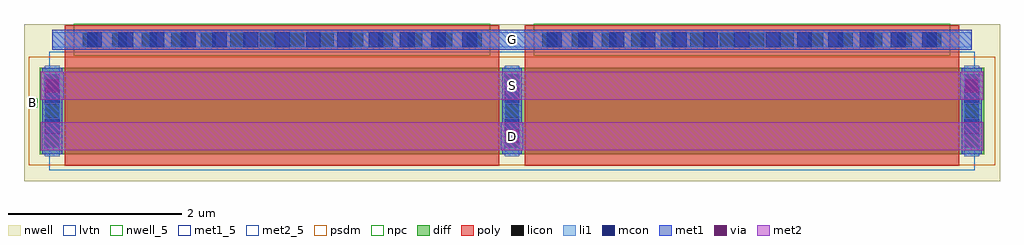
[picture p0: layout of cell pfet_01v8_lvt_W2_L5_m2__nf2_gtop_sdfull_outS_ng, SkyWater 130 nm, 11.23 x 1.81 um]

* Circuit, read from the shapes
.subckt pfet_01v8_lvt_W2_L5_m2__nf2_gtop_sdfull_outS_ng B D G S
XM1 D G S B sky130_fd_pr__pfet_01v8_lvt w=1 l=5 m=2
.ends

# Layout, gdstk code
import gdstk
lib = gdstk.Library(unit=1e-6, precision=1e-09)
def R(c, l, rs):  # rectangles x0, y0, x1, y1
    for r in rs: c.add(gdstk.rectangle(r[:2], r[2:], *l))
def A(c, l, x, y, w, h, nx, ny, dx, dy):  # array of equal rectangles
    R(c, l, [(x+i*dx, y+j*dy, x+i*dx+w, y+j*dy+h) for i in range(nx) for j in range(ny)])
nwell_5 = (64, 5)
nwell = (64, 20)
diff = (65, 20)
poly = (66, 20)
licon = (66, 44)
li1 = (67, 20)
mcon = (67, 44)
met1_5 = (68, 5)
met1 = (68, 20)
via = (68, 44)
met2_5 = (69, 5)
met2 = (69, 20)
psdm = (94, 20)
npc = (95, 20)
lvtn = (125, 44)

sky130_fd_pr__pfet_01v8_ = lib.new_cell('sky130_fd_pr__pfet_01v8_lvt_ZN57UK')
R(sky130_fd_pr__pfet_01v8_, nwell, [(-5.615,-0.99,5.615,0.82)])
R(sky130_fd_pr__pfet_01v8_, diff, [(-5.435,-0.68,5.435,0.32)])
R(sky130_fd_pr__pfet_01v8_, poly, [(-5.145,-0.81,-0.145,0.805), (0.145,-0.81,5.145,0.805)])
A(sky130_fd_pr__pfet_01v8_, licon, -5.375, -0.605, 0.17, 0.17, 3, 3, 5.29, 0.34)
A(sky130_fd_pr__pfet_01v8_, licon, -4.94, 0.555, 0.17, 0.17, 14, 1, 0.34, 0)
A(sky130_fd_pr__pfet_01v8_, licon, 0.35, 0.555, 0.17, 0.17, 14, 1, 0.34, 0)
A(sky130_fd_pr__pfet_01v8_, li1, -5.375, -0.7, 0.17, 1.04, 3, 1, 5.29, 0)
R(sky130_fd_pr__pfet_01v8_, li1, [(-5.29,0.555,5.29,0.725)])
A(sky130_fd_pr__pfet_01v8_, mcon, -5.375, -0.445, 0.17, 0.17, 3, 2, 5.29, 0.36)
A(sky130_fd_pr__pfet_01v8_, mcon, -4.89, 0.555, 0.17, 0.17, 13, 1, 0.36, 0)
A(sky130_fd_pr__pfet_01v8_, mcon, 0.4, 0.555, 0.17, 0.17, 13, 1, 0.36, 0)
A(sky130_fd_pr__pfet_01v8_, met1, -5.405, -0.68, 0.23, 1, 3, 1, 5.29, 0)
R(sky130_fd_pr__pfet_01v8_, met1, [(-5.125,0.525,-0.165,0.555), (0.165,0.525,5.125,0.555), (-5.29,0.555,5.29,0.725), (-5.125,0.725,-0.165,0.755), (0.165,0.725,5.125,0.755)])
R(sky130_fd_pr__pfet_01v8_, psdm, [(-5.56,-0.805,5.56,0.445)])
R(sky130_fd_pr__pfet_01v8_, npc, [(-5.04,0.455,-0.25,0.825), (0.25,0.455,5.04,0.825)])
R(sky130_fd_pr__pfet_01v8_, lvtn, [(-5.325,-0.86,5.325,0.5)])
sky130_fd_pr__pfet_01v8_.add(gdstk.Label('D0', (-5.29,-0.18), layer=67, texttype=5))
sky130_fd_pr__pfet_01v8_.add(gdstk.Label('G', (2.645,0.64), layer=67, texttype=5))
sky130_fd_pr__pfet_01v8_.add(gdstk.Label('G', (-2.645,0.64), layer=67, texttype=5))
sky130_fd_pr__pfet_01v8_.add(gdstk.Label('S1', (0,-0.18), layer=67, texttype=5))

pfet_01v8_lvt_w2_l5_m2__ = lib.new_cell('pfet_01v8_lvt_W2_L5_m2__nf2_gtop_sdfull_outS_ng')
R(pfet_01v8_lvt_w2_l5_m2__, nwell_5, [(0.05,0.855,0.15,0.955)])
R(pfet_01v8_lvt_w2_l5_m2__, nwell, [(0.05,0.855,0.15,0.955)])
R(pfet_01v8_lvt_w2_l5_m2__, met1_5, [(0.325,1.515,10.905,1.745)])
R(pfet_01v8_lvt_w2_l5_m2__, met1, [(5.485,0.36,5.745,0.68), (0.195,0.94,0.455,1.26), (10.775,0.94,11.035,1.26), (0.325,1.515,10.905,1.745)])
R(pfet_01v8_lvt_w2_l5_m2__, via, [(5.54,0.445,5.69,0.595), (0.25,1.025,0.4,1.175), (10.83,1.025,10.98,1.175)])
R(pfet_01v8_lvt_w2_l5_m2__, met2_5, [(0.19,0.36,11.04,0.68), (0.19,0.94,11.04,1.26)])
R(pfet_01v8_lvt_w2_l5_m2__, met2, [(0.19,0.36,11.04,0.68), (0.19,0.94,11.04,1.26)])
pfet_01v8_lvt_w2_l5_m2__.add(gdstk.Reference(sky130_fd_pr__pfet_01v8_, (5.615,0.99)))
pfet_01v8_lvt_w2_l5_m2__.add(gdstk.Label('S', (5.615,1.1), layer=69, texttype=5))
pfet_01v8_lvt_w2_l5_m2__.add(gdstk.Label('D', (5.615,0.52), layer=69, texttype=5))
pfet_01v8_lvt_w2_l5_m2__.add(gdstk.Label('G', (5.615,1.63), layer=68, texttype=5))
pfet_01v8_lvt_w2_l5_m2__.add(gdstk.Label('B', (0.1,0.905), layer=64, texttype=5))

lib.write_gds('pfet_01v8_lvt_W2_L5_m2__nf2_gtop_sdfull_outS_ng.gds')
